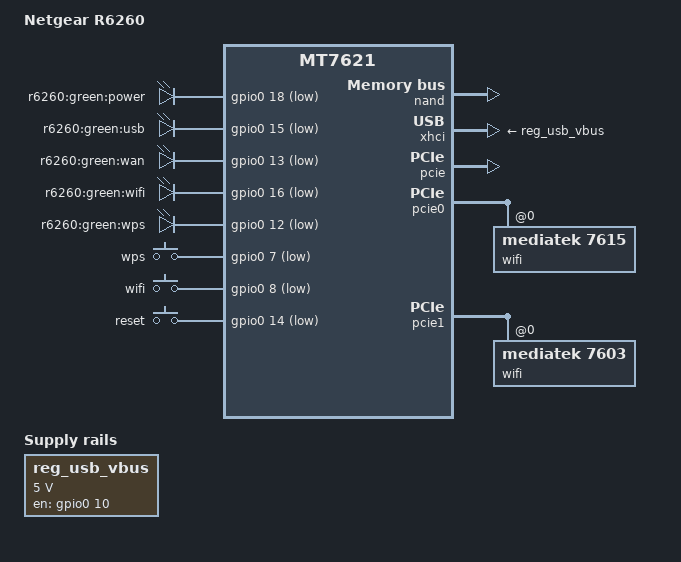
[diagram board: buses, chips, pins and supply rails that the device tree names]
/dts-v1/;

#include "mt7621.dtsi"

#include <dt-bindings/gpio/gpio.h>
#include <dt-bindings/input/input.h>

/ {
	compatible = "netgear,r6260", "mediatek,mt7621-soc";
	model = "Netgear R6260";

	aliases {
		led-boot = &led_power;
		led-failsafe = &led_power;
		led-running = &led_power;
		led-upgrade = &led_power;
	};

	chosen {
		bootargs = "console=ttyS0,57600";
	};

	leds {
		compatible = "gpio-leds";

		led_power: power {
			label = "r6260:green:power";
			gpios = <&gpio0 18 GPIO_ACTIVE_LOW>;
		};

		led_usb: usb {
			label = "r6260:green:usb";
			gpios = <&gpio0 15 GPIO_ACTIVE_LOW>;
			trigger-sources = <&xhci_ehci_port1>, <&ehci_port2>;
			linux,default-trigger = "usbport";
		};

		led_internet: internet {
			label = "r6260:green:wan";
			gpios = <&gpio0 13 GPIO_ACTIVE_LOW>;
		};

		led_wifi: wifi {
			label = "r6260:green:wifi";
			gpios = <&gpio0 16 GPIO_ACTIVE_LOW>;
			linux,default-trigger = "phy0tpt";
		};

		led_wps: wps {
			label = "r6260:green:wps";
			gpios = <&gpio0 12 GPIO_ACTIVE_LOW>;
		};
	};

	keys {
		compatible = "gpio-keys-polled";
		poll-interval = <20>;

		wps {
			label = "wps";
			gpios = <&gpio0 7 GPIO_ACTIVE_LOW>;
			linux,code = <KEY_WPS_BUTTON>;
		};

		wifi {
			label = "wifi";
			gpios = <&gpio0 8 GPIO_ACTIVE_LOW>;
			linux,code = <KEY_RFKILL>;
		};

		reset {
			label = "reset";
			gpios = <&gpio0 14 GPIO_ACTIVE_LOW>;
			linux,code = <KEY_RESTART>;
		};
	};

	reg_usb_vbus: regulator {
		compatible = "regulator-fixed";
		regulator-name = "usb_vbus";
		regulator-min-microvolt = <5000000>;
		regulator-max-microvolt = <5000000>;
		gpio = <&gpio0 10 GPIO_ACTIVE_HIGH>;
		enable-active-high;
	};
};

&nand {
	status = "okay";

	partitions {
		compatible = "fixed-partitions";
		#address-cells = <1>;
		#size-cells = <1>;

		partition@0 {
			label = "u-boot";
			reg = <0x0 0x100000>;
			read-only;
		};

		partition@100000 {
			label = "SC PID";
			reg = <0x100000 0x100000>;
			read-only;
		};

		partition@200000 {
			label = "kernel";
			reg = <0x200000 0x400000>;
		};

		partition@600000 {
			label = "ubi";
			reg = <0x600000 0x2800000>;
		};

		factory: partition@2e00000 {
			label = "factory";
			reg = <0x2e00000 0x100000>;
			read-only;
		};

		partition@4200000 {
			label = "reserved";
			reg = <0x4200000 0x3c00000>;
			read-only;
		};
	};
};

&xhci {
	vbus-supply = <&reg_usb_vbus>;
};

&pcie {
	status = "okay";
};

&pcie0 {
	wifi@0,0 {
		compatible = "mediatek,7615";
		reg = <0x0000 0 0 0 0>;
		mediatek,mtd-eeprom = <&factory 0x8000>;
		ieee80211-freq-limit = <5000000 6000000>;
	};
};

&pcie1 {
	wifi@0,0 {
		compatible = "mediatek,7603";
		reg = <0x0000 0 0 0 0>;
		mediatek,mtd-eeprom = <&factory 0x0000>;
		ieee80211-freq-limit = <2400000 2500000>;
	};
};

&ethernet {
	mtd-mac-address = <&factory 0x00000004>;
};

&pinctrl {
	state_default: pinctrl0 {
		gpio {
			ralink,group = "uart3", "uart2", "jtag", "wdt";
			ralink,function = "gpio";
		};
	};
};
